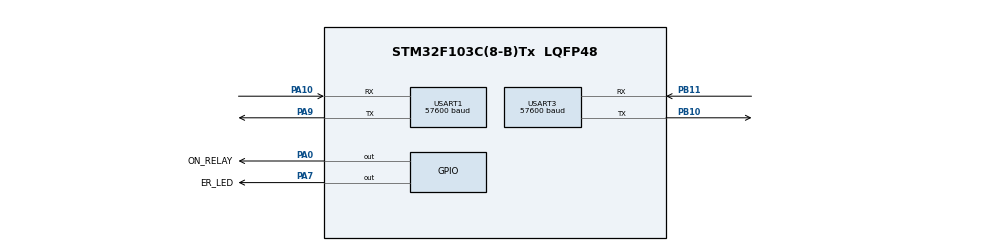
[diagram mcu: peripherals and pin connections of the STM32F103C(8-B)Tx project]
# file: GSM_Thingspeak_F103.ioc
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Mcu.Family=STM32F1
Mcu.Name=STM32F103C(8-B)Tx
Mcu.Package=LQFP48
NVIC.PriorityGroup=NVIC_PRIORITYGROUP_4
NVIC.TIM4_IRQn=true\:3\:0\:true\:false\:true\:true\:true
NVIC.USART1_IRQn=true\:1\:0\:true\:false\:true\:true\:true
NVIC.USART3_IRQn=true\:2\:0\:true\:false\:true\:true\:true
PA0-WKUP.GPIO_Label=ON_RELAY
PA0-WKUP.Signal=GPIO_Output
PA10.Mode=Asynchronous
PA10.Signal=USART1_RX
PA13.Mode=Serial_Wire
PA13.Signal=SYS_JTMS-SWDIO
PA14.Mode=Serial_Wire
PA14.Signal=SYS_JTCK-SWCLK
PA7.GPIO_Label=ER_LED
PA7.Signal=GPIO_Output
PA9.Mode=Asynchronous
PA9.Signal=USART1_TX
PB10.Mode=Asynchronous
PB10.Signal=USART3_TX
PB11.Mode=Asynchronous
PB11.Signal=USART3_RX
PD0-OSC_IN.Mode=HSE-External-Oscillator
PD0-OSC_IN.Signal=RCC_OSC_IN
PD1-OSC_OUT.Mode=HSE-External-Oscillator
PD1-OSC_OUT.Signal=RCC_OSC_OUT
ProjectManager.HeapSize=0x200
ProjectManager.StackSize=0x400
ProjectManager.TargetToolchain=TrueSTUDIO
RCC.APB1Freq_Value=8000000
RCC.APB2Freq_Value=8000000
TIM4.Period=9999
TIM4.Prescaler=7199
USART1.BaudRate=57600
USART1.VirtualMode=VM_ASYNC
USART3.BaudRate=57600
USART3.VirtualMode=VM_ASYNC
VP_TIM4_VS_ClockSourceINT.Mode=Internal
board=custom

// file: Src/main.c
/* USER CODE BEGIN Header */
/**
  ******************************************************************************
  * @file           : main.c
  * @brief          : Main program body
  ******************************************************************************
  * @attention
  *
  * <h2><center>&copy; Copyright (c) 2019 STMicroelectronics.
  * All rights reserved.</center></h2>
  *
  * This software component is licensed by ST under BSD 3-Clause license,
  * the "License"; You may not use this file except in compliance with the
  * License. You may obtain a copy of the License at:
  *                        opensource.org/licenses/BSD-3-Clause
  *
  ******************************************************************************
  */
/* USER CODE END Header */

#include "main.h"

/* USER CODE BEGIN Includes */
#include "gprs.h"
#include "usart_ring.h"
/* USER CODE END Includes */

/* USER CODE BEGIN PD */
#define GSM_AVAIL_SIZE 128
#define DBG_AVAIL_SIZE 128
/* USER CODE END PD */

TIM_HandleTypeDef htim4;

UART_HandleTypeDef huart1;
UART_HandleTypeDef huart3;

/* USER CODE BEGIN PV */
volatile uint8_t flag = 0;
/* USER CODE END PV */

void SystemClock_Config(void);
static void MX_GPIO_Init(void);
static void MX_TIM4_Init(void);
static void MX_USART1_UART_Init(void);
static void MX_USART3_UART_Init(void);

/* USER CODE BEGIN 0 */
/////////////////// удалить символы \r и \n из строки //////////////////////
static void clear_string(char *src)
{
	char *dst = NULL;
	if(!src) return;
	uint8_t i = 0;

	for(dst = src; *src; src++)
	{
		if(i < 2 && (*src == '\n' || *src == '\r'))
		{
			i++;
			continue;
		}
		else if(*src == '\n' || *src == '\r') *src = ' ';

		*dst++ = *src;
	}

	*dst = 0;
}

///////////////////// колбек таймера //////////////////////
void HAL_TIM_PeriodElapsedCallback(TIM_HandleTypeDef *htim)
{
	if(htim->Instance == TIM4)
	{
		flag = 1;
	}
}

//////////////// проверка и установка скорости 19200, нужна один раз /////////////////
void chek_speed(void)
{
  for(uint8_t i = 0; i < 7; i++)
  {
	  uint32_t sp = 0;

	  if(i == 0) sp = 2400;
	  else if(i == 1) sp = 4800;
	  else if(i == 2) sp = 9600;
	  else if(i == 3) sp = 19200;
	  else if(i == 4) sp = 38400;
	  else if(i == 5) sp = 57600;
	  else if(i == 6) sp = 115200;

	  huart1.Instance = USART1;
	  huart1.Init.BaudRate = sp;
	  huart1.Init.WordLength = UART_WORDLENGTH_8B;
	  huart1.Init.StopBits = UART_STOPBITS_1;
	  huart1.Init.Parity = UART_PARITY_NONE;
	  huart1.Init.Mode = UART_MODE_TX_RX;
	  huart1.Init.HwFlowCtl = UART_HWCONTROL_NONE;
	  huart1.Init.OverSampling = UART_OVERSAMPLING_16;

	  if (HAL_UART_Init(&huart1) != HAL_OK)
	  {
		  Error_Handler();
	  }

	  char str[16] = {0,};
	  HAL_UART_Transmit(GSM, (uint8_t*)"AT\r\n", strlen("AT\r\n"), 1000);
	  HAL_Delay(300);

	  if(gsm_available()) //если модуль что-то прислал
	  {
		  uint16_t i = 0;

		  while(gsm_available())
		  {
			  str[i++] = gsm_read();
			  if(i > 15) break;
			  HAL_Delay(2);
		  }

		  if(strstr(str, "OK") != NULL)
		  {
			  char buf[64] = {0,};
			  snprintf(buf, 64, "Uart modem was %lu, switched to 57600\n", huart1.Init.BaudRate);
			  HAL_UART_Transmit(DEBUG, (uint8_t*)buf, strlen(buf), 100);
			  HAL_UART_Transmit(GSM, (uint8_t*)"AT+IPR=57600\r\n", strlen("AT+IPR=57600\r\n"), 1000);
			  HAL_Delay(250);
			  MX_USART1_UART_Init();
			  break;
		  }
	  }
  }
}

////////////////////////////////////// отправка thingspeak //////////////////////////////////////
void send_thingspeak(uint8_t f1, uint8_t f2)
{
	char adres[] = "52.22.86.23";
	char update[] = "GET /update?";
	char api_key[] = "key=2LSQHOAUAWBDE19A";
	char field1[] = "&field1=";
	char field2[] = "&field2=";

	char buf[GPRS_RX_BUFFER_SIZE] = {0,};
	uint16_t port = 80;

	clear_gsm_buff();

	/////////////////////// создание подключения ////////////////////////
	snprintf(buf, GPRS_RX_BUFFER_SIZE, "AT+CIPSTART=\"TCP\",\"%s\",\"%d\"\r\n", adres, port);
	HAL_UART_Transmit(GSM, (uint8_t*)buf, strlen(buf), 1000);

	////////////////////// ожидание "CONNECT OK" после AT+CIPSTART ///////////////////////
	memset(buf, 0, GPRS_RX_BUFFER_SIZE);
	uint16_t timeout = 20000;

	for(uint16_t i = 0; i < timeout; i++) // 20 sek
	{
		if(gsm_available())
		{
			uint8_t k = 0;

			while(gsm_available())
			{
				buf[k++] = gsm_read();
				if(k > GPRS_RX_BUFFER_SIZE - 1) break;
				HAL_Delay(1);
			}

			if(strstr(buf, "CONNECT OK") != NULL)
			{
				HAL_UART_Transmit(DEBUG, (uint8_t*)"CONNECT OK\n", strlen("CONNECT OK\n"), 100); // debug
				break;
			}

			if(strstr(buf, "CONNECT FAIL") != NULL)
			{
				HAL_UART_Transmit(DEBUG, (uint8_t*)"CONNECT FAIL\n", strlen("CONNECT FAIL\n"), 100); // debug
				// как-то обрабатываем ошибку
				return;
			}

			if(strstr(buf, "ALREADY CONNECT") != NULL)
			{
				HAL_UART_Transmit(DEBUG, (uint8_t*)"ALREADY CONNECT\n", strlen("ALREADY CONNECT\n"), 100); // debug
				HAL_UART_Transmit(GSM, (uint8_t*)"AT+CIPCLOSE\r\n", 13, 1000); // закрыть соединение, если оно не было закрыто при прошлом запросе
				return;
			}
		}

		if(i == timeout - 1)
		{
			HAL_UART_Transmit(DEBUG, (uint8_t*)"Error, not CONNECT OK\n", strlen("Error, not CONNECT OK\n"), 1000);
			// как-то обрабатываем ошибку
			return;
		}

		HAL_Delay(1);
	}

	///////////// AT+CIPSEND подготовка отправки данных, должно прилететь '>' ////////////
	HAL_Delay(100);
	HAL_UART_Transmit(GSM, (uint8_t*)"AT+CIPSEND\r\n", 12, 1000);

	////////////////////// ожидание '>' ///////////////////////
	memset(buf, 0, GPRS_RX_BUFFER_SIZE);
	timeout = 2000;

	for(uint16_t i = 0; i < timeout; i++) // 2 sek
	{
		if(gsm_available())
		{
			uint8_t k = 0;

			while(gsm_available())
			{
				buf[k++] = gsm_read();
				if(k > GPRS_RX_BUFFER_SIZE - 1) break;
				HAL_Delay(1);
			}

			if(strstr(buf, ">") != NULL)
			{
				HAL_UART_Transmit(DEBUG, (uint8_t*)"OK '>'\n", strlen("OK '>'\n"), 100); // debug
				break;
			}
		}

		if(i == timeout - 1)
		{
			HAL_UART_Transmit(DEBUG, (uint8_t*)"Error, not '>'\n", strlen("Error, not '>'\n"), 1000);
			HAL_UART_Transmit(GSM, (uint8_t*)"AT+CIPCLOSE\r\n", 13, 1000); // закрыть соединение
			// как-то обрабатываем ошибку
			return;
		}

		HAL_Delay(1);
	}

	/////////////////////////////// отправка данных /////////////////////////////////////
	clear_gsm_buff();
	HAL_Delay(100);
	memset(buf, 0, GPRS_RX_BUFFER_SIZE);

	snprintf(buf, GPRS_RX_BUFFER_SIZE, "%s%s", update, api_key);
	HAL_UART_Transmit(GSM, (uint8_t*)buf, strlen(buf), 1000);
	//HAL_UART_Transmit(DEBUG, (uint8_t*)buf, strlen(buf), 1000);

	snprintf(buf, GPRS_RX_BUFFER_SIZE, "%s%d", field1, f1);
	HAL_UART_Transmit(GSM, (uint8_t*)buf, strlen(buf), 1000);
	//HAL_UART_Transmit(DEBUG, (uint8_t*)buf, strlen(buf), 1000);

	snprintf(buf, GPRS_RX_BUFFER_SIZE, "%s%d", field2, f2);
	HAL_UART_Transmit(GSM, (uint8_t*)buf, strlen(buf), 1000);
	//HAL_UART_Transmit(DEBUG, (uint8_t*)buf, strlen(buf), 1000);

	// сюда можно добавить field 2, 3 и т.д.

	snprintf(buf, GPRS_RX_BUFFER_SIZE, " HTTP/1.1\r\nHost: %s\r\nConnection: keep-alive\r\n\r\n%c", adres, (char)26);
	HAL_UART_Transmit(GSM, (uint8_t*)buf, strlen(buf), 1000);
	//HAL_UART_Transmit(DEBUG, (uint8_t*)buf, strlen(buf), 1000);

	/////////////////////////////// ожидание 'SEND OK' и чтение ответа сервера /////////////////////////////////////
	memset(buf, 0, GPRS_RX_BUFFER_SIZE);
	timeout = 20000;

	HAL_UART_Transmit(DEBUG, (uint8_t*)"-----------\n", strlen("-----------\n"), 100);

	for(uint16_t i = 0; i < timeout; i++) // 20 sek
	{
		if(gsm_available())
		{
			uint16_t k = 0;

			while(gsm_available())
			{
				buf[k++] = gsm_read();
				if(k > 11) break;
				HAL_Delay(1);
			}

			char *p = NULL;

			if((p = strstr(buf, "SEND OK")) != NULL)
			{
				for(uint16_t x = 0; x < 10000; x++) // 10 sek
				{
					if(gsm_available())
					{
						while(gsm_available())
						{
							buf[k++] = gsm_read();
							if(k > GPRS_RX_BUFFER_SIZE - 1) break;
							HAL_Delay(1);
						}

						HAL_UART_Transmit(DEBUG, (uint8_t*)"RES: ", 5, 100);
						HAL_UART_Transmit(DEBUG, (uint8_t*)p + 9, strlen(p + 9), 1000);

						// тут можно парсить ответ

						HAL_UART_Transmit(GSM, (uint8_t*)"AT+CIPCLOSE\r\n", 13, 1000); // закрыть соединение
						return;
					}

					if(x == 9999)
					{
						HAL_UART_Transmit(DEBUG, (uint8_t*)"No data after SEND OK\n", strlen("No data after SEND OK\n"), 1000);
						HAL_UART_Transmit(GSM, (uint8_t*)"AT+CIPCLOSE\r\n", 13, 1000); // закрыть соединение
						return;
					}

					HAL_Delay(1);
				}
			}
			else
			{
				HAL_UART_Transmit(DEBUG, (uint8_t*)"Error, not SEND OK 1\n", strlen("Error, not SEND OK 1\n"), 1000);
				HAL_UART_Transmit(GSM, (uint8_t*)"AT+CIPCLOSE\r\n", 13, 1000); // закрыть соединение
				return;
			}

		}

		if(i == timeout - 1)
		{
			HAL_UART_Transmit(DEBUG, (uint8_t*)"Error, not SEND OK 2\n", strlen("Error, not SEND OK 2\n"), 1000);
			HAL_UART_Transmit(GSM, (uint8_t*)"AT+CIPCLOSE\r\n", 13, 1000); // закрыть соединение
			return;
		}

		HAL_Delay(1);
	}
}

////////////////////////////////////// чтение thingspeak //////////////////////////////////////
void read_thingspeak()
{
	char adres[] = "52.22.86.23";
	char channels[] = "GET /channels/845474/feed.json?";
	char api_key[] = "key=2LSQHOAUAWBDE19A";
	char results[] = "&results=";

	char buf[GPRS_RX_BUFFER_SIZE] = {0,};
	uint16_t port = 80;

	clear_gsm_buff();

	/////////////////////// создание подключения ////////////////////////
	snprintf(buf, GPRS_RX_BUFFER_SIZE, "AT+CIPSTART=\"TCP\",\"%s\",\"%d\"\r\n", adres, port);
	HAL_UART_Transmit(GSM, (uint8_t*)buf, strlen(buf), 1000);

	////////////////////// ожидание "CONNECT OK" после AT+CIPSTART ///////////////////////
	memset(buf, 0, GPRS_RX_BUFFER_SIZE);
	uint16_t timeout = 20000;

	for(uint16_t i = 0; i < timeout; i++) // 20 sek
	{
		if(gsm_available())
		{
			uint8_t k = 0;

			while(gsm_available())
			{
				buf[k++] = gsm_read();
				if(k > GPRS_RX_BUFFER_SIZE - 1) break;
				HAL_Delay(1);
			}

			if(strstr(buf, "CONNECT OK") != NULL)
			{
				HAL_UART_Transmit(DEBUG, (uint8_t*)"CONNECT OK\n", strlen("CONNECT OK\n"), 100); // debug
				break;
			}

			if(strstr(buf, "CONNECT FAIL") != NULL)
			{
				HAL_UART_Transmit(DEBUG, (uint8_t*)"CONNECT FAIL\n", strlen("CONNECT FAIL\n"), 100); // debug
				// как-то обрабатываем ошибку
				return;
			}

			if(strstr(buf, "ALREADY CONNECT") != NULL)
			{
				HAL_UART_Transmit(DEBUG, (uint8_t*)"ALREADY CONNECT\n", strlen("ALREADY CONNECT\n"), 100); // debug
				HAL_UART_Transmit(GSM, (uint8_t*)"AT+CIPCLOSE\r\n", 13, 1000); // закрыть соединение, если оно не было закрыто при прошлом запросе
				return;
			}
		}

		if(i == timeout - 1)
		{
			HAL_UART_Transmit(DEBUG, (uint8_t*)"Error, not CONNECT OK\n", strlen("Error, not CONNECT OK\n"), 1000);
			// как-то обрабатываем ошибку
			return;
		}

		HAL_Delay(1);
	}

	///////////// AT+CIPSEND подготовка отправки данных, должно прилететь '>' ////////////
	HAL_Delay(100);
	HAL_UART_Transmit(GSM, (uint8_t*)"AT+CIPSEND\r\n", 12, 1000);

	////////////////////// ожидание '>' ///////////////////////
	memset(buf, 0, GPRS_RX_BUFFER_SIZE);
	timeout = 2000;

	for(uint16_t i = 0; i < timeout; i++) // 2 sek
	{
		if(gsm_available())
		{
			uint8_t k = 0;

			while(gsm_available())
			{
				buf[k++] = gsm_read();
				if(k > GPRS_RX_BUFFER_SIZE - 1) break;
				HAL_Delay(1);
			}

			if(strstr(buf, ">") != NULL)
			{
				HAL_UART_Transmit(DEBUG, (uint8_t*)"OK '>'\n", strlen("OK '>'\n"), 100); // debug
				break;
			}
		}

		if(i == timeout - 1)
		{
			HAL_UART_Transmit(DEBUG, (uint8_t*)"Error, not '>'\n", strlen("Error, not '>'\n"), 1000);
			HAL_UART_Transmit(GSM, (uint8_t*)"AT+CIPCLOSE\r\n", 13, 1000); // закрыть соединение
			// как-то обрабатываем ошибку
			return;
		}

		HAL_Delay(1);
	}

	/////////////////////////////// отправка данных /////////////////////////////////////
	clear_gsm_buff();
	HAL_Delay(100);
	memset(buf, 0, GPRS_RX_BUFFER_SIZE);

	snprintf(buf, GPRS_RX_BUFFER_SIZE, "%s", channels);
	HAL_UART_Transmit(GSM, (uint8_t*)buf, strlen(buf), 1000);
	//HAL_UART_Transmit(DEBUG, (uint8_t*)buf, strlen(buf), 1000);

	snprintf(buf, GPRS_RX_BUFFER_SIZE, "%s", api_key);
	HAL_UART_Transmit(GSM, (uint8_t*)buf, strlen(buf), 1000);
	//HAL_UART_Transmit(DEBUG, (uint8_t*)buf, strlen(buf), 1000);

	snprintf(buf, GPRS_RX_BUFFER_SIZE, "%s%d", results, 1); // 1 последний результат, 2 - два последних, и т.д.
	HAL_UART_Transmit(GSM, (uint8_t*)buf, strlen(buf), 1000);
	//HAL_UART_Transmit(DEBUG, (uint8_t*)buf, strlen(buf), 1000);

	snprintf(buf, GPRS_RX_BUFFER_SIZE, " HTTP/1.1\r\nHost: %s\r\nConnection: keep-alive\r\n\r\n%c", adres, (char)26);
	HAL_UART_Transmit(GSM, (uint8_t*)buf, strlen(buf), 1000);
	//HAL_UART_Transmit(DEBUG, (uint8_t*)buf, strlen(buf), 1000);

	/////////////////////////////// ожидание 'SEND OK' и чтение ответа сервера /////////////////////////////////////
	memset(buf, 0, GPRS_RX_BUFFER_SIZE);
	timeout = 20000;

	HAL_UART_Transmit(DEBUG, (uint8_t*)"-----------\n", strlen("-----------\n"), 100);

	for(uint16_t i = 0; i < timeout; i++) // 20 sek
	{
		if(gsm_available())
		{
			uint16_t k = 0;

			while(gsm_available())
			{
				buf[k++] = gsm_read();
				if(k > 11) break;
				HAL_Delay(1);
			}

			if(strstr(buf, "SEND OK") != NULL)
			{
				for(uint16_t x = 0; x < 10000; x++) // 10 sek
				{
					if(gsm_available())
					{
						uint8_t flag = 0;
						k = 0;

						while(gsm_available())
						{
							uint8_t sim = gsm_read();

							if(sim == '{') flag = 1;

							if(flag)
							{
								buf[k++] = sim;
								if(k > GPRS_RX_BUFFER_SIZE - 1) break;
							}

							HAL_Delay(1);
						}

						HAL_UART_Transmit(DEBUG, (uint8_t*)"JSON: ", 6, 100);
						HAL_UART_Transmit(DEBUG, (uint8_t*)buf, strlen(buf), 1000);

						// тут можно парсить ответ

						HAL_UART_Transmit(GSM, (uint8_t*)"AT+CIPCLOSE\r\n", 13, 1000); // закрыть соединение
						return;
					}

					if(x == 9999)
					{
						HAL_UART_Transmit(DEBUG, (uint8_t*)"No data after SEND OK\n", strlen("No data after SEND OK\n"), 1000);
						HAL_UART_Transmit(GSM, (uint8_t*)"AT+CIPCLOSE\r\n", 13, 1000); // закрыть соединение
						return;
					}

					HAL_Delay(1);
				}
			}
			else
			{
				HAL_UART_Transmit(DEBUG, (uint8_t*)"Error, not SEND OK 1\n", strlen("Error, not SEND OK 1\n"), 1000);
				HAL_UART_Transmit(GSM, (uint8_t*)"AT+CIPCLOSE\r\n", 13, 1000); // закрыть соединение
				return;
			}

		}

		if(i == timeout - 1)
		{
			HAL_UART_Transmit(DEBUG, (uint8_t*)"Error, not SEND OK 2\n", strlen("Error, not SEND OK 2\n"), 1000);
			HAL_UART_Transmit(GSM, (uint8_t*)"AT+CIPCLOSE\r\n", 13, 1000); // закрыть соединение
			return;
		}

		HAL_Delay(1);
	}
}
/* USER CODE END 0 */

int main(void)
{

  /* MCU Configuration--------------------------------------------------------*/

  /* Reset of all peripherals, Initializes the Flash interface and the Systick. */
  HAL_Init();

  /* Configure the system clock */
  SystemClock_Config();

  /* Initialize all configured peripherals */
  MX_GPIO_Init();
  MX_TIM4_Init();
  MX_USART1_UART_Init();
  MX_USART3_UART_Init();
  /* USER CODE BEGIN 2 */
  HAL_Delay(2000);
  HAL_GPIO_WritePin(ON_RELAY_GPIO_Port, ON_RELAY_Pin, GPIO_PIN_SET);
  HAL_Delay(6000); // задержка чтоб модем успел раздуплиться, если его включение происходит вместе с включением МК

  __HAL_UART_ENABLE_IT(GSM, UART_IT_RXNE);
  __HAL_UART_ENABLE_IT(DEBUG, UART_IT_RXNE);

  chek_speed(); // проверка и установка скорости 57600, нужна один раз

  ////////////////// настройка модема ///////////////////
  set_comand(ATCPAS);  // проверка статуса модема
  set_comand(ATCREG);  // проверка регистрации в сети - должен вернуть  +CREG: 0,1
  set_comand(ATCLIP1); // включить АОН
  set_comand(ATE);     // отключить «эхо»
  set_comand(ATS);     // поднимать трубку только "вручную"
  //set_comand(ATDDET);  // включить DTMF
  //set_comand(ATCCLKK); // установить дату/время
  set_comand(ATCMEE);  // включить расшифровку ошибок

  /*------------------- БЛОК SMS START --------------------*/
  /////////////////// настройки для работы с sms ////////////////
  //set_comand(ATCMGF);    // устанавливает текстовый режим смс-сообщения
  //set_comand(ATCPBS);    // открывает доступ к данным телефонной книги SIM-карты
  //set_comand(ATCSCS);    // кодировка текста - GSM
  //set_comand(ATCNMI);    // настройка вывода смс в консоль
  /*-------------------- БЛОК SMS END --------------------*/

  /*------------------- БЛОК INFA START --------------------*/
  //////////////////// различная инфа /////////////////////
  //set_comand(ATIPR);       // скорость usart'a модема
  //set_comand(ATI);         // название и версия модуля
  //set_comand(ATCGSN);      // считывание IMEI из EEPROM
  //set_comand(ATCSPN);      // оператор сети
  /*-------------------- БЛОК INFA END --------------------*/

  /*------------------- БЛОК TCP START --------------------*/
  //////////////////// TCP НАСТРОЙКА /////////////////////
  set_comand(ATCGATT1);         // включить GPRS сервис
  set_comand(ATCGATT);          // проверить подключен ли к GPRS - +CGATT: 1
  set_comand(ATCIPMUX0);        // установить режим одиночного соединения
  chek_status(ATCIPSTATUS, 1);  // должно вернуть IP INITIAL
  set_comand(ATCSTTAPN);        // APN, имя пользователя и пароль
  chek_status(ATCIPSTATUS, 2);  // должно вернуть IP START
  set_comand(ATCIICR);          // устанавливаем беспроводное подключение GPRS
  chek_status(ATCIPSTATUS, 3);  // должно вернуть IP GPRSACT
  set_comand(ATCIFSR);          // возвращает IP-адрес модуля
  chek_status(ATCIPSTATUS, 4);  // должно вернуть IP STATUS
  //set_comand(ATCDNSCFG);        // установить сервера DNS
  /*-------------------- БЛОК TCP END --------------------*/

  send_thingspeak(11, 33); // отправка данных на thingspeak
  HAL_Delay(1000);
  read_thingspeak();       // чтение данных thingspeak

  HAL_TIM_Base_Start_IT(&htim4);

  uint16_t count = 0;
  /* USER CODE END 2 */

  /* Infinite loop */
  /* USER CODE BEGIN WHILE */
  while (1)
  {
		if(flag == 1) // срабатывает раз в секунду выводить время
		{
			flag = 0;
			//get_date_time(); // будет раз в секунду выводить время
			count++;
		}

		if(count > 29) // каждые 60 секунд
		{
			count = 0;
			//send_thingspeak(21, 89); // отправка данных на thingspeak
			//read_thingspeak();       // чтение данных thingspeak
		}

		if(gsm_available()) //если модуль что-то прислал
		{
			uint16_t i = 0;

			char buf[GSM_AVAIL_SIZE] = {0,};
			char str[GSM_AVAIL_SIZE] = {0,};
			HAL_Delay(50);

			while(gsm_available())
			{
				buf[i++] = gsm_read();
				if(i > GSM_AVAIL_SIZE - 1) break;
				HAL_Delay(1);
			}

			clear_string(buf); // очищаем строку от символов \r и \n  +PDP: DEACT

			if(strstr(buf, "RING") != NULL) // ЕСЛИ ЭТО ЗВОНОК
			{
				if(strstr(buf, "9823124561") != NULL) // если звонит нужный номер
				{
					// что-то делаем
					HAL_UART_Transmit(DEBUG, (uint8_t*)"My number\n", strlen("My number\n"), 1000);
					//incoming_call(); // можно принять звонок
					//HAL_NVIC_SystemReset(); // RESET
					disable_connection(); // сброс соединения
				}
			}
			else if(strstr(buf, "DEACT") != NULL) // ЕСЛИ ЭТО +PDP: DEACT
			{
				// что-то делаем
				HAL_UART_Transmit(DEBUG, (uint8_t*)"My_DEACT\n", strlen("My_DEACT\n"), 1000);
				//HAL_NVIC_SystemReset(); // RESET
				set_comand(ATCIPSHUT); // разорвать все соединения и деактивировать интерфейс GPRS

				/////////// настройка как при старте, либо сделать ресет ///////////
				set_comand(ATCIPMUX0);        // установить режим одиночного соединения
				chek_status(ATCIPSTATUS, 1);
				set_comand(ATCSTTAPN);        // APN, имя пользователя и пароль
				chek_status(ATCIPSTATUS, 2);
				set_comand(ATCIICR);          // устанавливаем беспроводное подключение GPRS
				chek_status(ATCIPSTATUS, 3);
				set_comand(ATCIFSR);          // возвращает IP-адрес модуля
				chek_status(ATCIPSTATUS, 4);
				set_comand(ATCDNSCFG);       // установить сервера DNS
			}

			snprintf(str, GSM_AVAIL_SIZE, "\nW_buf: %s\n", buf);
			HAL_UART_Transmit(DEBUG, (uint8_t*)str, strlen(str), 1000);
		}

		////////////////////////////////////// DEBUG ////////////////////////////////////////
		if(dbg_available()) //если послали в терминал какую-то команду, то она перенаправиться в модем
		{
			uint8_t i = 0;
			char dbg_str[DBG_AVAIL_SIZE] = {0,};
			char dbg_buf[DBG_AVAIL_SIZE] = {0,};

			while(dbg_available())
			{
				dbg_buf[i++] = dbg_read();
				if(i > DBG_AVAIL_SIZE - 1) break;
				HAL_Delay(1);
			}

			clear_string(dbg_buf);
			snprintf(dbg_str, DBG_AVAIL_SIZE, "%s\r\n", dbg_buf);
			HAL_UART_Transmit(GSM, (uint8_t*)dbg_str, strlen(dbg_str), 1000);
		}
    /* USER CODE END WHILE */

  }
}

void SystemClock_Config(void)
{
  RCC_OscInitTypeDef RCC_OscInitStruct = {0};
  RCC_ClkInitTypeDef RCC_ClkInitStruct = {0};

  /** Initializes the CPU, AHB and APB busses clocks
  */
  RCC_OscInitStruct.OscillatorType = RCC_OSCILLATORTYPE_HSI;
  RCC_OscInitStruct.HSIState = RCC_HSI_ON;
  RCC_OscInitStruct.HSICalibrationValue = RCC_HSICALIBRATION_DEFAULT;
  RCC_OscInitStruct.PLL.PLLState = RCC_PLL_NONE;
  if (HAL_RCC_OscConfig(&RCC_OscInitStruct) != HAL_OK)
  {
    Error_Handler();
  }
  /** Initializes the CPU, AHB and APB busses clocks
  */
  RCC_ClkInitStruct.ClockType = RCC_CLOCKTYPE_HCLK|RCC_CLOCKTYPE_SYSCLK
                              |RCC_CLOCKTYPE_PCLK1|RCC_CLOCKTYPE_PCLK2;
  RCC_ClkInitStruct.SYSCLKSource = RCC_SYSCLKSOURCE_HSI;
  RCC_ClkInitStruct.AHBCLKDivider = RCC_SYSCLK_DIV1;
  RCC_ClkInitStruct.APB1CLKDivider = RCC_HCLK_DIV1;
  RCC_ClkInitStruct.APB2CLKDivider = RCC_HCLK_DIV1;

  if (HAL_RCC_ClockConfig(&RCC_ClkInitStruct, FLASH_LATENCY_0) != HAL_OK)
  {
    Error_Handler();
  }
}

static void MX_TIM4_Init(void)
{

  TIM_ClockConfigTypeDef sClockSourceConfig = {0};
  TIM_MasterConfigTypeDef sMasterConfig = {0};

  htim4.Instance = TIM4;
  htim4.Init.Prescaler = 7199;
  htim4.Init.CounterMode = TIM_COUNTERMODE_UP;
  htim4.Init.Period = 9999;
  htim4.Init.ClockDivision = TIM_CLOCKDIVISION_DIV1;
  htim4.Init.AutoReloadPreload = TIM_AUTORELOAD_PRELOAD_DISABLE;
  if (HAL_TIM_Base_Init(&htim4) != HAL_OK)
  {
    Error_Handler();
  }
  sClockSourceConfig.ClockSource = TIM_CLOCKSOURCE_INTERNAL;
  if (HAL_TIM_ConfigClockSource(&htim4, &sClockSourceConfig) != HAL_OK)
  {
    Error_Handler();
  }
  sMasterConfig.MasterOutputTrigger = TIM_TRGO_RESET;
  sMasterConfig.MasterSlaveMode = TIM_MASTERSLAVEMODE_DISABLE;
  if (HAL_TIMEx_MasterConfigSynchronization(&htim4, &sMasterConfig) != HAL_OK)
  {
    Error_Handler();
  }

}

static void MX_USART1_UART_Init(void)
{

  huart1.Instance = USART1;
  huart1.Init.BaudRate = 57600;
  huart1.Init.WordLength = UART_WORDLENGTH_8B;
  huart1.Init.StopBits = UART_STOPBITS_1;
  huart1.Init.Parity = UART_PARITY_NONE;
  huart1.Init.Mode = UART_MODE_TX_RX;
  huart1.Init.HwFlowCtl = UART_HWCONTROL_NONE;
  huart1.Init.OverSampling = UART_OVERSAMPLING_16;
  if (HAL_UART_Init(&huart1) != HAL_OK)
  {
    Error_Handler();
  }

}

static void MX_USART3_UART_Init(void)
{

  huart3.Instance = USART3;
  huart3.Init.BaudRate = 57600;
  huart3.Init.WordLength = UART_WORDLENGTH_8B;
  huart3.Init.StopBits = UART_STOPBITS_1;
  huart3.Init.Parity = UART_PARITY_NONE;
  huart3.Init.Mode = UART_MODE_TX_RX;
  huart3.Init.HwFlowCtl = UART_HWCONTROL_NONE;
  huart3.Init.OverSampling = UART_OVERSAMPLING_16;
  if (HAL_UART_Init(&huart3) != HAL_OK)
  {
    Error_Handler();
  }

}

static void MX_GPIO_Init(void)
{
  GPIO_InitTypeDef GPIO_InitStruct = {0};

  /* GPIO Ports Clock Enable */
  __HAL_RCC_GPIOD_CLK_ENABLE();
  __HAL_RCC_GPIOA_CLK_ENABLE();
  __HAL_RCC_GPIOB_CLK_ENABLE();

  /*Configure GPIO pin Output Level */
  HAL_GPIO_WritePin(GPIOA, ON_RELAY_Pin|ER_LED_Pin, GPIO_PIN_RESET);

  /*Configure GPIO pins : ON_RELAY_Pin ER_LED_Pin */
  GPIO_InitStruct.Pin = ON_RELAY_Pin|ER_LED_Pin;
  GPIO_InitStruct.Mode = GPIO_MODE_OUTPUT_PP;
  GPIO_InitStruct.Pull = GPIO_NOPULL;
  GPIO_InitStruct.Speed = GPIO_SPEED_FREQ_LOW;
  HAL_GPIO_Init(GPIOA, &GPIO_InitStruct);

}

void Error_Handler(void)
{
}

/************************ (C) COPYRIGHT STMicroelectronics *****END OF FILE****/
